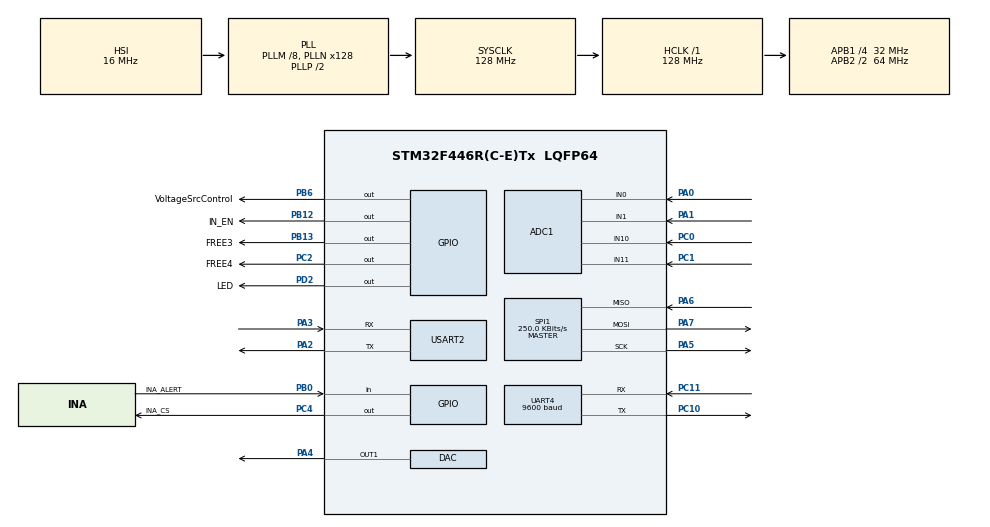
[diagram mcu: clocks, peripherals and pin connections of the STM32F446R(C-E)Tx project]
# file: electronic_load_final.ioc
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ADC1.Channel-0\#ChannelRegularConversion=ADC_CHANNEL_0
ADC1.Channel-1\#ChannelRegularConversion=ADC_CHANNEL_1
ADC1.Channel-2\#ChannelRegularConversion=ADC_CHANNEL_10
ADC1.Channel-3\#ChannelRegularConversion=ADC_CHANNEL_11
ADC1.InjNumberOfConversion=0
ADC1.NbrOfConversion=4
ADC1.NbrOfConversionFlag=1
ADC1.Rank-0\#ChannelRegularConversion=1
ADC1.Rank-1\#ChannelRegularConversion=2
ADC1.Rank-2\#ChannelRegularConversion=3
ADC1.Rank-3\#ChannelRegularConversion=4
ADC1.SamplingTime-0\#ChannelRegularConversion=ADC_SAMPLETIME_480CYCLES
ADC1.SamplingTime-1\#ChannelRegularConversion=ADC_SAMPLETIME_480CYCLES
ADC1.SamplingTime-2\#ChannelRegularConversion=ADC_SAMPLETIME_480CYCLES
ADC1.SamplingTime-3\#ChannelRegularConversion=ADC_SAMPLETIME_480CYCLES
ADC1.master=1
Dma.Request0=UART4_TX
Dma.Request1=USART2_TX
Dma.UART4_TX.0.Direction=DMA_MEMORY_TO_PERIPH
Dma.UART4_TX.0.FIFOMode=DMA_FIFOMODE_DISABLE
Dma.UART4_TX.0.Instance=DMA1_Stream4
Dma.UART4_TX.0.MemDataAlignment=DMA_MDATAALIGN_BYTE
Dma.UART4_TX.0.MemInc=DMA_MINC_ENABLE
Dma.UART4_TX.0.Mode=DMA_NORMAL
Dma.UART4_TX.0.PeriphDataAlignment=DMA_PDATAALIGN_BYTE
Dma.UART4_TX.0.PeriphInc=DMA_PINC_DISABLE
Dma.UART4_TX.0.Priority=DMA_PRIORITY_LOW
Dma.USART2_TX.1.Direction=DMA_MEMORY_TO_PERIPH
Dma.USART2_TX.1.FIFOMode=DMA_FIFOMODE_DISABLE
Dma.USART2_TX.1.Instance=DMA1_Stream6
Dma.USART2_TX.1.MemDataAlignment=DMA_MDATAALIGN_BYTE
Dma.USART2_TX.1.MemInc=DMA_MINC_ENABLE
Dma.USART2_TX.1.Mode=DMA_NORMAL
Dma.USART2_TX.1.PeriphDataAlignment=DMA_PDATAALIGN_BYTE
Dma.USART2_TX.1.PeriphInc=DMA_PINC_DISABLE
Dma.USART2_TX.1.Priority=DMA_PRIORITY_LOW
Mcu.Family=STM32F4
Mcu.Name=STM32F446R(C-E)Tx
Mcu.Package=LQFP64
NVIC.DMA1_Stream4_IRQn=true\:0\:0\:false\:false\:true\:false\:true\:true
NVIC.DMA1_Stream6_IRQn=true\:0\:0\:false\:false\:true\:false\:true\:true
NVIC.PriorityGroup=NVIC_PRIORITYGROUP_4
NVIC.TIM2_IRQn=true\:0\:0\:false\:false\:true\:true\:true\:true
NVIC.TIM6_DAC_IRQn=true\:10\:0\:true\:false\:true\:true\:true\:true
NVIC.UART4_IRQn=true\:0\:0\:false\:false\:true\:true\:true\:true
NVIC.USART2_IRQn=true\:0\:0\:false\:false\:true\:true\:true\:true
PA0-WKUP.Signal=ADCx_IN0
PA1.Signal=ADCx_IN1
PA2.Mode=Asynchronous
PA2.Signal=USART2_TX
PA3.Mode=Asynchronous
PA3.Signal=USART2_RX
PA4.Signal=COMP_DAC1_group
PA5.Mode=Full_Duplex_Master
PA5.Signal=SPI1_SCK
PA6.Mode=Full_Duplex_Master
PA6.Signal=SPI1_MISO
PA7.Mode=Full_Duplex_Master
PA7.Signal=SPI1_MOSI
PB0.GPIO_Label=INA_ALERT
PB0.Signal=GPIO_Input
PB12.GPIO_Label=IN_EN
PB12.Signal=GPIO_Output
PB13.GPIO_Label=FREE3
PB13.Signal=GPIO_Output
PB6.GPIO_Label=VoltageSrcControl
PB6.Signal=GPIO_Output
PC0.Signal=ADCx_IN10
PC1.Signal=ADCx_IN11
PC10.Mode=Asynchronous
PC10.Signal=UART4_TX
PC11.Mode=Asynchronous
PC11.Signal=UART4_RX
PC2.GPIO_Label=FREE4
PC2.Signal=GPIO_Output
PC4.GPIO_Label=INA_CS
PC4.PinState=GPIO_PIN_SET
PC4.Signal=GPIO_Output
PD2.GPIO_Label=LED
PD2.Signal=GPIO_Output
ProjectManager.HeapSize=0x200
ProjectManager.StackSize=0x400
ProjectManager.TargetToolchain=STM32CubeIDE
RCC.AHBFreq_Value=128000000
RCC.APB1CLKDivider=RCC_HCLK_DIV4
RCC.APB1Freq_Value=32000000
RCC.APB1TimFreq_Value=64000000
RCC.APB2CLKDivider=RCC_HCLK_DIV2
RCC.APB2Freq_Value=64000000
RCC.APB2TimFreq_Value=128000000
RCC.CortexFreq_Value=128000000
RCC.HCLKFreq_Value=128000000
RCC.PLLM=8
RCC.PLLN=128
RCC.SYSCLKFreq_VALUE=128000000
RCC.SYSCLKSource=RCC_SYSCLKSOURCE_PLLCLK
RCC.USBFreq_Value=128000000
RCC.VCOOutputFreq_Value=256000000
SH.ADCx_IN0.0=ADC1_IN0,IN0
SH.ADCx_IN1.0=ADC1_IN1,IN1
SH.ADCx_IN10.0=ADC1_IN10,IN10
SH.ADCx_IN11.0=ADC1_IN11,IN11
SH.COMP_DAC1_group.0=DAC_OUT1,DAC_OUT1
SPI1.BaudRatePrescaler=SPI_BAUDRATEPRESCALER_256
SPI1.CLKPhase=SPI_PHASE_2EDGE
SPI1.CalculateBaudRate=250.0 KBits/s
SPI1.Direction=SPI_DIRECTION_2LINES
SPI1.Mode=SPI_MODE_MASTER
SPI1.VirtualType=VM_MASTER
TIM2.Period=9999
TIM2.Prescaler=64
UART4.BaudRate=9600
UART4.VirtualMode=Asynchronous
USART2.VirtualMode=VM_ASYNC
VP_TIM2_VS_ClockSourceINT.Mode=Internal
board=custom

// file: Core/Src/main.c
/* USER CODE BEGIN Header */
/**
  ******************************************************************************
  * @file           : main.c
  * @brief          : Main program body
  ******************************************************************************
  * @attention
  *
  * Copyright (c) 2026 STMicroelectronics.
  * All rights reserved.
  *
  * This software is licensed under terms that can be found in the LICENSE file
  * in the root directory of this software component.
  * If no LICENSE file comes with this software, it is provided AS-IS.
  *
  ******************************************************************************
  */
/* USER CODE END Header */
#include "main.h"

/* USER CODE BEGIN Includes */
#include"nextion.h"
#include "controller.h"
#include "display.h"
#include "INA229.h"
#include "button_callbacks.h"
#include "SafetyCheck.h"
#include "PC_com.h"
/* USER CODE END Includes */

ADC_HandleTypeDef hadc1;

DAC_HandleTypeDef hdac;

SPI_HandleTypeDef hspi1;

TIM_HandleTypeDef htim2;

UART_HandleTypeDef huart4;
UART_HandleTypeDef huart2;
DMA_HandleTypeDef hdma_uart4_tx;
DMA_HandleTypeDef hdma_usart2_tx;

/* USER CODE BEGIN PV */
// Flags
uint8_t ControllerEN = 0;
uint8_t DisplayEN = 0;
uint8_t SaftyCheckEM = 0;
uint8_t SafetyCheck = 0;
uint8_t PVtestStart = 0;
uint8_t Transmit_to_PC = 0;

//Global Variables
float SetValueGlobal = 0;
float NewValue = 0;
uint8_t actualMode = 0;
uint8_t previousMode = 0;
uint8_t loadStatus = 0;
uint8_t voltageSrcState = 0;
volatile float current_mes = 0;
volatile float voltage_mes = 0;
volatile float power_mes = 0;
float PVcurrent[2048] = {0};
float PVvoltage[2048] = {0};
float PVpower[2048] = {0};
volatile float MPP_voltage = 0;
volatile float MPP_current = 0;
volatile float MPP_power = 0;
//privat variables
uint16_t tim_count = 0;

/* USER CODE END PV */

void SystemClock_Config(void);
static void MX_GPIO_Init(void);
static void MX_DMA_Init(void);
static void MX_UART4_Init(void);
static void MX_SPI1_Init(void);
static void MX_DAC_Init(void);
static void MX_TIM2_Init(void);
static void MX_ADC1_Init(void);
static void MX_USART2_UART_Init(void);

/* USER CODE BEGIN 0 */
//Object for the Nextion display
Nextion nextion;

//Objects for the components form main menu
NexComp ConstantCurrent;
NexComp ConstantVoltage;
NexComp ConstantResistance;
NexComp ConstantPower;
NexComp PVtest;
NexComp BatteryCapacity;

//Objects for the components from CC CV CR CP page
NexComp LoadSW;
NexComp VoltageSrc;
NexComp BackToMainMenu;
NexComp SetNewValue;
NexComp ModeName;
NexComp SetValue;
NexComp SetValueUnit;
NexComp Current;
NexComp Voltage;
NexComp Power;

//Objects for the components from set new value page
NexComp plus10;
NexComp plus1;
NexComp plus01;
NexComp plus001;
NexComp minus10;
NexComp minus1;
NexComp minus01;
NexComp minus001;
NexComp SaveValue;
NexComp NewValueDisp;
NexComp NewValueUnit;

//Objects for the components from PV page
NexComp PVchart;
NexComp PVstartTest;
NexComp PVback;
NexComp MPPpower;
NexComp MPPcurrent;
NexComp MPPvoltage;
NexComp PVVsrcSW;

//INA229 object
INA229_Handle ina;

//Nection UART RX interrupt
void HAL_UART_RxCpltCallback(UART_HandleTypeDef *huart)
{
	NextionUpdate(huart, &nextion);
}

//Interrupts callback
void HAL_TIM_PeriodElapsedCallback(TIM_HandleTypeDef *htim)
{
  if (htim == &htim2) {
	  ControllerEN = 1;
	  tim_count ++;
  }
  if(tim_count == 10){
	  SafetyCheck = 1;
	  Transmit_to_PC = 1;
  }
  if(tim_count == 100){
	  DisplayEN = 1;
	  tim_count = 0;
  }
}

/* USER CODE END 0 */

int main(void)
{

  /* MCU Configuration--------------------------------------------------------*/

  /* Reset of all peripherals, Initializes the Flash interface and the Systick. */
  HAL_Init();

  /* Configure the system clock */
  SystemClock_Config();

  /* Initialize all configured peripherals */
  MX_GPIO_Init();
  MX_DMA_Init();
  MX_UART4_Init();
  MX_SPI1_Init();
  MX_DAC_Init();
  MX_TIM2_Init();
  MX_ADC1_Init();
  MX_USART2_UART_Init();
  /* USER CODE BEGIN 2 */
  HAL_TIM_Base_Start_IT(&htim2);

  NextionInit(&nextion, &huart4);

  //main menu page components
	NextionAddComp(&nextion, &ConstantCurrent, "CC", 1, 2, buttonCallbackCC, NULL);
	NextionAddComp(&nextion, &ConstantVoltage, "CV", 1, 3, buttonCallbackCV, NULL);
	NextionAddComp(&nextion, &ConstantResistance, "CR", 1, 4, buttonCallbackCR, NULL);
	NextionAddComp(&nextion, &ConstantPower, "CP", 1, 1, buttonCallbackCP, NULL);
	NextionAddComp(&nextion, &PVtest, "PVtest", 1, 7, buttonCallbackPV, NULL);

	//CC CV CR CP page components
	NextionAddComp(&nextion, &ModeName, "modeName", 2, 1, NULL, NULL);
	NextionAddComp(&nextion, &SetValue, "setValue", 2, 6, NULL, NULL);
	NextionAddComp(&nextion, &SetValueUnit, "setValueUnit", 2, 7, NULL, NULL);
	NextionAddComp(&nextion, &Voltage, "voltage", 2, 10, NULL, NULL);
	NextionAddComp(&nextion, &Current, "current", 2, 8, NULL, NULL);
	NextionAddComp(&nextion, &Power, "power", 2, 12, NULL, NULL);
	NextionAddComp(&nextion, &SetNewValue, "setNewSW", 2, 4, buttonCallbackSetNew, NULL);
	NextionAddComp(&nextion, &LoadSW, "loadSW", 2, 14, buttonCallbackLoadSW, NULL);
	NextionAddComp(&nextion, &VoltageSrc, "VsrcSW", 2, 15, buttonCallbackVolatageSrc, NULL);
	NextionAddComp(&nextion, &BackToMainMenu, "back", 2, 5, buttonCallbackBack, NULL);

	//Set Value page component
	NextionAddComp(&nextion, &SaveValue, "save", 5, 9, buttonCallbackSave, NULL);
	NextionAddComp(&nextion, &plus10, "p10", 5, 1, buttonCallbackPlus10, NULL);
	NextionAddComp(&nextion, &plus1, "p1", 5, 2, buttonCallbackPlus1, NULL);
	NextionAddComp(&nextion, &plus01, "p01", 5, 3, buttonCallbackPlus01, NULL);
	NextionAddComp(&nextion, &plus001, "p001", 5, 4, buttonCallbackPlus001, NULL);
	NextionAddComp(&nextion, &minus10, "m10", 5, 5, buttonCallbackMinus10, NULL);
	NextionAddComp(&nextion, &minus1, "m1", 5, 6, buttonCallbackMinsu1, NULL);
	NextionAddComp(&nextion, &minus01, "m01", 5, 7, buttonCallbackMinus01, NULL);
	NextionAddComp(&nextion, &minus001, "m001", 5, 8, buttonCallbackMinus001, NULL);
	NextionAddComp(&nextion, &NewValueDisp, "value", 5, 10, NULL, NULL);
	NextionAddComp(&nextion, &NewValueUnit, "unit", 5, 11, NULL, NULL);

	//PV moad page
	NextionAddComp(&nextion, &MPPvoltage, "MPPvoltage", 3, 8, NULL, NULL);
	NextionAddComp(&nextion, &MPPcurrent, "MPPcurrent", 3, 6, NULL, NULL);
	NextionAddComp(&nextion, &MPPpower, "MPPpower", 3, 4, NULL, NULL);
	NextionAddComp(&nextion, &PVstartTest, "PVstart", 3, 3, buttonCallbackPVstart, NULL);
	NextionAddComp(&nextion, &PVback, "PVback", 3, 1, buttonCallbackBack, NULL);
	NextionAddComp(&nextion, &PVVsrcSW, "PVVsrcSW",	 3, 13, buttonCallbackVolatageSrc, NULL);

	  ina.hspi = &hspi1;
	  ina.cs_port = INA_CS_GPIO_Port;
	  ina.cs_pin = INA_CS_Pin;
	  ina.shunt_resistance = 0.001;

	  INA229_ConfigReg cfg = {
	      .reset = 0,
	      .resetAcc = 1,
	      .tempComp = 0,
	      .adcRange = 1,
	      .convDelay_ms = 0
	  };
	  INA229_WriteConfig(&ina, &cfg);

	  INA229_AdcConfigReg adc = {
	      .mode = 0x0f,
	      .vbusCT = 5,
	      .vshCT  = 5,
	      .vtCT   = 5,
	      .avg = 2
	  };
	  INA229_WriteAdcConfig(&ina, &adc);

	  //DAC init
	  HAL_DAC_Start(&hdac, DAC_CHANNEL_1);

	  NextionSetPage(&nextion, 0);
	  TransmitBuffer(&nextion);
	  HAL_Delay(1000);
	  NextionSetPage(&nextion, 1);
	  TransmitBuffer(&nextion);
	  HAL_Delay(100);
  /* USER CODE END 2 */

  /* Infinite loop */
  /* USER CODE BEGIN WHILE */
  while (1)
  {
	  if (ControllerEN == 1){
		  controller();
		  ControllerEN = 0;
	  }
	  if (Transmit_to_PC == 1){
		  if(actualMode != 9){
			  Transmit_Continius_Data();
		  }
		  Transmit_to_PC = 0;
	  }
	  if (DisplayEN == 1){
		  display();
		  DisplayEN = 0;
	  }
	  if(SafetyCheck == 1){
	  	//overheat();
	  	//current_mes = 6;
	  	overcurrent();
	  	SafetyCheck = 0;
	  }

	 //PV test mode

	  if(PVtestStart == 1){
		  NextionSetVal(&nextion, &MPPvoltage, 0000);
		  NextionSetVal(&nextion, &MPPcurrent, 0000);
		  NextionSetVal(&nextion, &MPPpower, 0000);
		  NextionSendCommand(&nextion, "p1.pic=5");
		  TransmitBuffer(&nextion);

		  HAL_GPIO_WritePin(IN_EN_GPIO_Port, IN_EN_Pin, GPIO_PIN_SET);
		  HAL_Delay(1000);

		  MPP_current = 0;
		  MPP_voltage = 0;
		  MPP_power = 0;

		  for(uint16_t i = 0 ; i < 2048 ; i++){

			  HAL_DAC_SetValue(&hdac, DAC_CHANNEL_1, DAC_ALIGN_12B_R, i);
			  voltage_mes = INA229_ReadBusVoltage(&ina);
			  current_mes = INA229_ReadShuntVoltage(&ina)/ina.shunt_resistance;
			  power_mes = voltage_mes * current_mes;

			  if(current_mes < 0){
			  		current_mes = 0;
			  	}
			  	if(current_mes > 80){
			  		current_mes = 0;
			  	}
			  	if(power_mes > 5000){
			  		power_mes = 0;
			  	}

			  //safety check
			  overcurrent();
			  //overheat();

			  //save values for print characteristics
			  PVcurrent[i] = current_mes;
			  PVvoltage[i] = voltage_mes;
			  PVpower[i] = power_mes;

			  //look for MPP
			  if(power_mes > MPP_power){
				  MPP_current = current_mes;
				  MPP_voltage = voltage_mes;
				  MPP_power = power_mes;
			  }
			  HAL_Delay(1);

		  }

		  NextionSetVal(&nextion, &MPPvoltage, MPP_voltage*100);
		  NextionSetVal(&nextion, &MPPcurrent, MPP_current*100);
		  NextionSetVal(&nextion, &MPPpower, MPP_power*10);
		  TransmitBuffer(&nextion);
		  HAL_Delay(500);

		  HAL_GPIO_WritePin(IN_EN_GPIO_Port, IN_EN_Pin, GPIO_PIN_RESET);
		  NextionSendCommand(&nextion, "p1.pic=6");
		  TransmitBuffer(&nextion);
		  Transmit_PV_Data();
		  HAL_Delay(500);

		  PVtestStart = 0;
	  }

	  if(voltageSrcState == 1){
		  HAL_GPIO_WritePin(VoltageSrcControl_GPIO_Port, VoltageSrcControl_Pin, GPIO_PIN_SET);
	  }else{
		  HAL_GPIO_WritePin(VoltageSrcControl_GPIO_Port, VoltageSrcControl_Pin, GPIO_PIN_RESET);
	  }

	  if(loadStatus == 1){
		  HAL_GPIO_WritePin(IN_EN_GPIO_Port, IN_EN_Pin, GPIO_PIN_SET);
	  }else{
		  HAL_GPIO_WritePin(IN_EN_GPIO_Port, IN_EN_Pin, GPIO_PIN_RESET);
	  }

    /* USER CODE END WHILE */

  }
}

void SystemClock_Config(void)
{
  RCC_OscInitTypeDef RCC_OscInitStruct = {0};
  RCC_ClkInitTypeDef RCC_ClkInitStruct = {0};

  /** Configure the main internal regulator output voltage
  */
  __HAL_RCC_PWR_CLK_ENABLE();
  __HAL_PWR_VOLTAGESCALING_CONFIG(PWR_REGULATOR_VOLTAGE_SCALE2);

  /** Initializes the RCC Oscillators according to the specified parameters
  * in the RCC_OscInitTypeDef structure.
  */
  RCC_OscInitStruct.OscillatorType = RCC_OSCILLATORTYPE_HSI;
  RCC_OscInitStruct.HSIState = RCC_HSI_ON;
  RCC_OscInitStruct.HSICalibrationValue = RCC_HSICALIBRATION_DEFAULT;
  RCC_OscInitStruct.PLL.PLLState = RCC_PLL_ON;
  RCC_OscInitStruct.PLL.PLLSource = RCC_PLLSOURCE_HSI;
  RCC_OscInitStruct.PLL.PLLM = 8;
  RCC_OscInitStruct.PLL.PLLN = 128;
  RCC_OscInitStruct.PLL.PLLP = RCC_PLLP_DIV2;
  RCC_OscInitStruct.PLL.PLLQ = 2;
  RCC_OscInitStruct.PLL.PLLR = 2;
  if (HAL_RCC_OscConfig(&RCC_OscInitStruct) != HAL_OK)
  {
    Error_Handler();
  }

  /** Initializes the CPU, AHB and APB buses clocks
  */
  RCC_ClkInitStruct.ClockType = RCC_CLOCKTYPE_HCLK|RCC_CLOCKTYPE_SYSCLK
                              |RCC_CLOCKTYPE_PCLK1|RCC_CLOCKTYPE_PCLK2;
  RCC_ClkInitStruct.SYSCLKSource = RCC_SYSCLKSOURCE_PLLCLK;
  RCC_ClkInitStruct.AHBCLKDivider = RCC_SYSCLK_DIV1;
  RCC_ClkInitStruct.APB1CLKDivider = RCC_HCLK_DIV4;
  RCC_ClkInitStruct.APB2CLKDivider = RCC_HCLK_DIV2;

  if (HAL_RCC_ClockConfig(&RCC_ClkInitStruct, FLASH_LATENCY_4) != HAL_OK)
  {
    Error_Handler();
  }
}

static void MX_ADC1_Init(void)
{

  ADC_ChannelConfTypeDef sConfig = {0};

  /** Configure the global features of the ADC (Clock, Resolution, Data Alignment and number of conversion)
  */
  hadc1.Instance = ADC1;
  hadc1.Init.ClockPrescaler = ADC_CLOCK_SYNC_PCLK_DIV2;
  hadc1.Init.Resolution = ADC_RESOLUTION_12B;
  hadc1.Init.ScanConvMode = ENABLE;
  hadc1.Init.ContinuousConvMode = DISABLE;
  hadc1.Init.DiscontinuousConvMode = DISABLE;
  hadc1.Init.ExternalTrigConvEdge = ADC_EXTERNALTRIGCONVEDGE_NONE;
  hadc1.Init.ExternalTrigConv = ADC_SOFTWARE_START;
  hadc1.Init.DataAlign = ADC_DATAALIGN_RIGHT;
  hadc1.Init.NbrOfConversion = 4;
  hadc1.Init.DMAContinuousRequests = DISABLE;
  hadc1.Init.EOCSelection = ADC_EOC_SINGLE_CONV;
  if (HAL_ADC_Init(&hadc1) != HAL_OK)
  {
    Error_Handler();
  }

  /** Configure for the selected ADC regular channel its corresponding rank in the sequencer and its sample time.
  */
  sConfig.Channel = ADC_CHANNEL_0;
  sConfig.Rank = 1;
  sConfig.SamplingTime = ADC_SAMPLETIME_480CYCLES;
  if (HAL_ADC_ConfigChannel(&hadc1, &sConfig) != HAL_OK)
  {
    Error_Handler();
  }

  /** Configure for the selected ADC regular channel its corresponding rank in the sequencer and its sample time.
  */
  sConfig.Channel = ADC_CHANNEL_1;
  sConfig.Rank = 2;
  if (HAL_ADC_ConfigChannel(&hadc1, &sConfig) != HAL_OK)
  {
    Error_Handler();
  }

  /** Configure for the selected ADC regular channel its corresponding rank in the sequencer and its sample time.
  */
  sConfig.Channel = ADC_CHANNEL_10;
  sConfig.Rank = 3;
  if (HAL_ADC_ConfigChannel(&hadc1, &sConfig) != HAL_OK)
  {
    Error_Handler();
  }

  /** Configure for the selected ADC regular channel its corresponding rank in the sequencer and its sample time.
  */
  sConfig.Channel = ADC_CHANNEL_11;
  sConfig.Rank = 4;
  if (HAL_ADC_ConfigChannel(&hadc1, &sConfig) != HAL_OK)
  {
    Error_Handler();
  }

}

static void MX_DAC_Init(void)
{

  DAC_ChannelConfTypeDef sConfig = {0};

  /** DAC Initialization
  */
  hdac.Instance = DAC;
  if (HAL_DAC_Init(&hdac) != HAL_OK)
  {
    Error_Handler();
  }

  /** DAC channel OUT1 config
  */
  sConfig.DAC_Trigger = DAC_TRIGGER_NONE;
  sConfig.DAC_OutputBuffer = DAC_OUTPUTBUFFER_ENABLE;
  if (HAL_DAC_ConfigChannel(&hdac, &sConfig, DAC_CHANNEL_1) != HAL_OK)
  {
    Error_Handler();
  }

}

static void MX_SPI1_Init(void)
{

  /* SPI1 parameter configuration*/
  hspi1.Instance = SPI1;
  hspi1.Init.Mode = SPI_MODE_MASTER;
  hspi1.Init.Direction = SPI_DIRECTION_2LINES;
  hspi1.Init.DataSize = SPI_DATASIZE_8BIT;
  hspi1.Init.CLKPolarity = SPI_POLARITY_LOW;
  hspi1.Init.CLKPhase = SPI_PHASE_2EDGE;
  hspi1.Init.NSS = SPI_NSS_SOFT;
  hspi1.Init.BaudRatePrescaler = SPI_BAUDRATEPRESCALER_256;
  hspi1.Init.FirstBit = SPI_FIRSTBIT_MSB;
  hspi1.Init.TIMode = SPI_TIMODE_DISABLE;
  hspi1.Init.CRCCalculation = SPI_CRCCALCULATION_DISABLE;
  hspi1.Init.CRCPolynomial = 10;
  if (HAL_SPI_Init(&hspi1) != HAL_OK)
  {
    Error_Handler();
  }

}

static void MX_TIM2_Init(void)
{

  TIM_ClockConfigTypeDef sClockSourceConfig = {0};
  TIM_MasterConfigTypeDef sMasterConfig = {0};

  htim2.Instance = TIM2;
  htim2.Init.Prescaler = 64;
  htim2.Init.CounterMode = TIM_COUNTERMODE_UP;
  htim2.Init.Period = 9999;
  htim2.Init.ClockDivision = TIM_CLOCKDIVISION_DIV1;
  htim2.Init.AutoReloadPreload = TIM_AUTORELOAD_PRELOAD_DISABLE;
  if (HAL_TIM_Base_Init(&htim2) != HAL_OK)
  {
    Error_Handler();
  }
  sClockSourceConfig.ClockSource = TIM_CLOCKSOURCE_INTERNAL;
  if (HAL_TIM_ConfigClockSource(&htim2, &sClockSourceConfig) != HAL_OK)
  {
    Error_Handler();
  }
  sMasterConfig.MasterOutputTrigger = TIM_TRGO_RESET;
  sMasterConfig.MasterSlaveMode = TIM_MASTERSLAVEMODE_DISABLE;
  if (HAL_TIMEx_MasterConfigSynchronization(&htim2, &sMasterConfig) != HAL_OK)
  {
    Error_Handler();
  }

}

static void MX_UART4_Init(void)
{

  huart4.Instance = UART4;
  huart4.Init.BaudRate = 9600;
  huart4.Init.WordLength = UART_WORDLENGTH_8B;
  huart4.Init.StopBits = UART_STOPBITS_1;
  huart4.Init.Parity = UART_PARITY_NONE;
  huart4.Init.Mode = UART_MODE_TX_RX;
  huart4.Init.HwFlowCtl = UART_HWCONTROL_NONE;
  huart4.Init.OverSampling = UART_OVERSAMPLING_16;
  if (HAL_UART_Init(&huart4) != HAL_OK)
  {
    Error_Handler();
  }

}

static void MX_USART2_UART_Init(void)
{

  huart2.Instance = USART2;
  huart2.Init.BaudRate = 115200;
  huart2.Init.WordLength = UART_WORDLENGTH_8B;
  huart2.Init.StopBits = UART_STOPBITS_1;
  huart2.Init.Parity = UART_PARITY_NONE;
  huart2.Init.Mode = UART_MODE_TX_RX;
  huart2.Init.HwFlowCtl = UART_HWCONTROL_NONE;
  huart2.Init.OverSampling = UART_OVERSAMPLING_16;
  if (HAL_UART_Init(&huart2) != HAL_OK)
  {
    Error_Handler();
  }

}

static void MX_DMA_Init(void)
{

  /* DMA controller clock enable */
  __HAL_RCC_DMA1_CLK_ENABLE();

  /* DMA interrupt init */
  /* DMA1_Stream4_IRQn interrupt configuration */
  HAL_NVIC_SetPriority(DMA1_Stream4_IRQn, 0, 0);
  HAL_NVIC_EnableIRQ(DMA1_Stream4_IRQn);
  /* DMA1_Stream6_IRQn interrupt configuration */
  HAL_NVIC_SetPriority(DMA1_Stream6_IRQn, 0, 0);
  HAL_NVIC_EnableIRQ(DMA1_Stream6_IRQn);

}

static void MX_GPIO_Init(void)
{
  GPIO_InitTypeDef GPIO_InitStruct = {0};

  /* GPIO Ports Clock Enable */
  __HAL_RCC_GPIOC_CLK_ENABLE();
  __HAL_RCC_GPIOA_CLK_ENABLE();
  __HAL_RCC_GPIOB_CLK_ENABLE();
  __HAL_RCC_GPIOD_CLK_ENABLE();

  /*Configure GPIO pin Output Level */
  HAL_GPIO_WritePin(FREE4_GPIO_Port, FREE4_Pin, GPIO_PIN_RESET);

  /*Configure GPIO pin Output Level */
  HAL_GPIO_WritePin(INA_CS_GPIO_Port, INA_CS_Pin, GPIO_PIN_SET);

  /*Configure GPIO pin Output Level */
  HAL_GPIO_WritePin(GPIOB, IN_EN_Pin|FREE3_Pin|VoltageSrcControl_Pin, GPIO_PIN_RESET);

  /*Configure GPIO pin Output Level */
  HAL_GPIO_WritePin(LED_GPIO_Port, LED_Pin, GPIO_PIN_RESET);

  /*Configure GPIO pins : FREE4_Pin INA_CS_Pin */
  GPIO_InitStruct.Pin = FREE4_Pin|INA_CS_Pin;
  GPIO_InitStruct.Mode = GPIO_MODE_OUTPUT_PP;
  GPIO_InitStruct.Pull = GPIO_NOPULL;
  GPIO_InitStruct.Speed = GPIO_SPEED_FREQ_LOW;
  HAL_GPIO_Init(GPIOC, &GPIO_InitStruct);

  /*Configure GPIO pin : INA_ALERT_Pin */
  GPIO_InitStruct.Pin = INA_ALERT_Pin;
  GPIO_InitStruct.Mode = GPIO_MODE_INPUT;
  GPIO_InitStruct.Pull = GPIO_NOPULL;
  HAL_GPIO_Init(INA_ALERT_GPIO_Port, &GPIO_InitStruct);

  /*Configure GPIO pins : IN_EN_Pin FREE3_Pin VoltageSrcControl_Pin */
  GPIO_InitStruct.Pin = IN_EN_Pin|FREE3_Pin|VoltageSrcControl_Pin;
  GPIO_InitStruct.Mode = GPIO_MODE_OUTPUT_PP;
  GPIO_InitStruct.Pull = GPIO_NOPULL;
  GPIO_InitStruct.Speed = GPIO_SPEED_FREQ_LOW;
  HAL_GPIO_Init(GPIOB, &GPIO_InitStruct);

  /*Configure GPIO pin : LED_Pin */
  GPIO_InitStruct.Pin = LED_Pin;
  GPIO_InitStruct.Mode = GPIO_MODE_OUTPUT_PP;
  GPIO_InitStruct.Pull = GPIO_NOPULL;
  GPIO_InitStruct.Speed = GPIO_SPEED_FREQ_LOW;
  HAL_GPIO_Init(LED_GPIO_Port, &GPIO_InitStruct);

}

void Error_Handler(void)
{
  __disable_irq();
  while (1)
  {
  }
}
